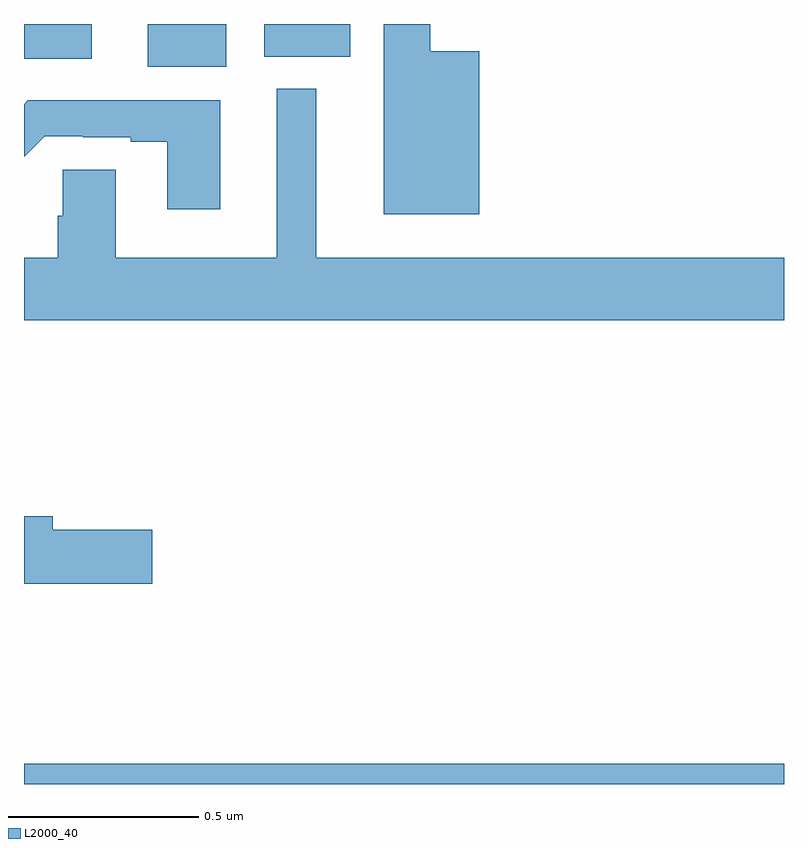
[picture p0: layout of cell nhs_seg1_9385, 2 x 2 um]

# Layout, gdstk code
import gdstk
lib = gdstk.Library(unit=1e-6, precision=1e-09)
def R(c, l, rs):  # rectangles x0, y0, x1, y1
    for r in rs: c.add(gdstk.rectangle(r[:2], r[2:], *l))
def P(c, l, *ps):  # polygons
    for p in ps: c.add(gdstk.Polygon(p, *l))
L2000_40 = (2000, 40)

nhs_seg1_9385 = lib.new_cell('nhs_seg1_9385')
R(nhs_seg1_9385, L2000_40, [(228,529.199,230,529.252), (228.326,531.086,228.532,531.199), (228,531.107,228.178,531.199), (228.632,531.113,228.859,531.199)])
P(nhs_seg1_9385, L2000_40, [(229.198,531.127),(229.069,531.127),(229.069,531.199),(228.947,531.199),(228.947,530.699),(229.198,530.699)],
  [(230,530.584),(228.769,530.584),(228.769,531.028),(228.665,531.028),(228.665,530.584),(228.241,530.584),(228.241,530.816),(228.102,530.816),(228.102,530.694),(228.089,530.694),(228.089,530.584),(228,530.584),(228,530.42),(230,530.42)],
  [(228.517,530.998),(228.01,530.998),(228,530.988),(228,530.85),(228.054,530.904),(228.154,530.904),(228.154,530.901),(228.281,530.901),(228.281,530.889),(228.377,530.889),(228.377,530.712),(228.517,530.712)],
  [(228.337,529.868),(228.076,529.868),(228.076,529.904),(228,529.904),(228,529.726),(228.337,529.726)])

lib.write_gds('nhs_seg1_9385.gds')
